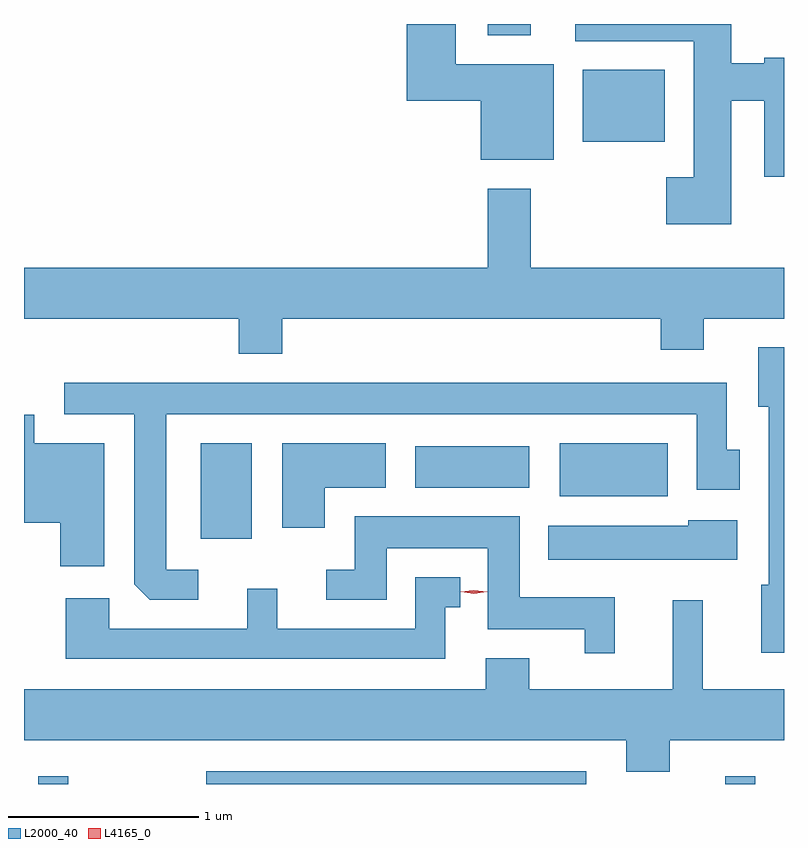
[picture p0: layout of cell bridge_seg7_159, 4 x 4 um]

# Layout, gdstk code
import gdstk
lib = gdstk.Library(unit=1e-6, precision=1e-09)
def R(c, l, rs):  # rectangles x0, y0, x1, y1
    for r in rs: c.add(gdstk.rectangle(r[:2], r[2:], *l))
def P(c, l, *ps):  # polygons
    for p in ps: c.add(gdstk.Polygon(p, *l))
L2000_40 = (2000, 40)
L4165_0 = (4165, 0)

bridge_seg7_159 = lib.new_cell('bridge_seg7_159')
R(bridge_seg7_159, L2000_40, [(1626.726,1727.406,1626.884,1727.448), (1627.611,1727.406,1629.609,1727.474), (1630.341,1727.406,1630.499,1727.448), (1627.581,1728.696,1627.849,1729.199), (1629.471,1728.921,1630.039,1729.199), (1628.711,1728.966,1629.309,1729.184), (1629.591,1730.786,1630.024,1731.164), (1629.091,1731.346,1629.319,1731.406)])
P(bridge_seg7_159, L2000_40, [(1629.439,1731.194),(1628.924,1731.194),(1628.924,1731.406),(1628.666,1731.406),(1628.666,1731.001),(1629.056,1731.001),(1629.056,1730.691),(1629.439,1730.691)],
  [(1630.374,1731.001),(1630.546,1731.001),(1630.546,1730.601),(1630.651,1730.601),(1630.651,1731.229),(1630.546,1731.229),(1630.546,1731.199),(1630.374,1731.199),(1630.374,1731.406),(1629.551,1731.406),(1629.551,1731.316),(1630.176,1731.316),(1630.176,1730.599),(1630.031,1730.599),(1630.031,1730.351),(1630.374,1730.351)],
  [(1628.009,1729.856),(1630.001,1729.856),(1630.001,1729.691),(1630.229,1729.691),(1630.229,1729.856),(1630.651,1729.856),(1630.651,1730.124),(1629.319,1730.124),(1629.319,1730.539),(1629.091,1730.539),(1629.091,1730.124),(1626.651,1730.124),(1626.651,1729.856),(1627.781,1729.856),(1627.781,1729.671),(1628.009,1729.671)],
  [(1630.651,1729.704),(1630.516,1729.704),(1630.516,1729.391),(1630.571,1729.391),(1630.571,1728.454),(1630.531,1728.454),(1630.531,1728.096),(1630.651,1728.096)],
  [(1627.568,1728.534),(1627.399,1728.534),(1627.399,1729.351),(1630.191,1729.351),(1630.191,1728.956),(1630.419,1728.956),(1630.419,1729.164),(1630.349,1729.164),(1630.349,1729.519),(1626.863,1729.519),(1626.863,1729.351),(1627.231,1729.351),(1627.231,1728.457),(1627.312,1728.376),(1627.568,1728.376)],
  [(1627.074,1729.199),(1626.704,1729.199),(1626.704,1729.349),(1626.651,1729.349),(1626.651,1728.781),(1626.841,1728.781),(1626.841,1728.551),(1627.074,1728.551)],
  [(1628.234,1728.966),(1628.554,1728.966),(1628.554,1729.199),(1628.011,1729.199),(1628.011,1728.756),(1628.234,1728.756)],
  [(1629.759,1728.389),(1629.259,1728.389),(1629.259,1728.814),(1628.391,1728.814),(1628.391,1728.534),(1628.243,1728.534),(1628.243,1728.376),(1628.559,1728.376),(1628.559,1728.646),(1629.091,1728.646),(1629.091,1728.221),(1629.601,1728.221),(1629.601,1728.093),(1629.759,1728.093)],
  [(1630.404,1728.794),(1630.146,1728.794),(1630.146,1728.764),(1629.411,1728.764),(1629.411,1728.586),(1630.404,1728.586)],
  [(1628.869,1728.336),(1628.948,1728.336),(1628.948,1728.494),(1628.711,1728.494),(1628.711,1728.224),(1627.984,1728.224),(1627.984,1728.433),(1627.826,1728.433),(1627.826,1728.224),(1627.099,1728.224),(1627.099,1728.384),(1626.871,1728.384),(1626.871,1728.066),(1628.869,1728.066)],
  [(1630.049,1727.636),(1630.651,1727.636),(1630.651,1727.904),(1630.224,1727.904),(1630.224,1728.373),(1630.066,1728.373),(1630.066,1727.904),(1629.309,1727.904),(1629.309,1728.069),(1629.081,1728.069),(1629.081,1727.904),(1626.651,1727.904),(1626.651,1727.636),(1629.821,1727.636),(1629.821,1727.471),(1630.049,1727.471)])
P(bridge_seg7_159, L4165_0, [(1629.018,1728.407),(1628.949,1728.417),(1628.949,1728.417),(1628.949,1728.418),(1629.018,1728.427),(1629.088,1728.418),(1629.088,1728.418),(1629.088,1728.417)])

lib.write_gds('bridge_seg7_159.gds')
